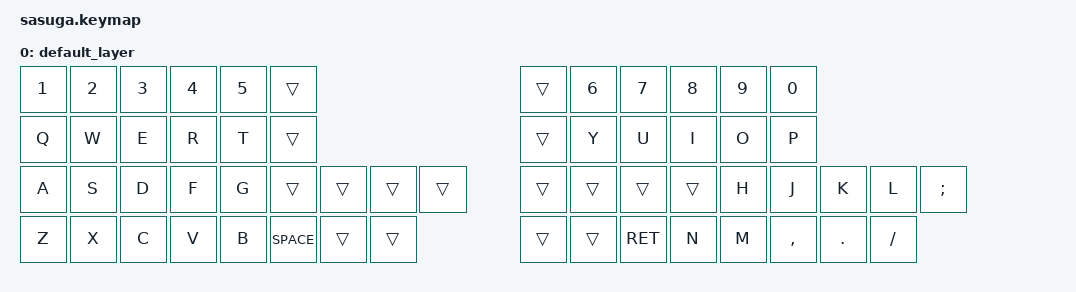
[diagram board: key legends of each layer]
#include <behaviors.dtsi>
#include <dt-bindings/zmk/keys.h>
#include <dt-bindings/zmk/bt.h>

/ {
        keymap {
                compatible = "zmk,keymap";

                default_layer {
// ---------------------------------------------------------------------------------
// |  1  |  2  |  3  |  4  |  5  |     |     |     |  6  |  7  |  8  |  9  |  0  |
// |  Q  |  W  |  E  |  R  |  T  |     |     |     |  Y  |  U  |  I  |  O  |  P  |
// |  A  |  S  |  D  |  F  |  G  |     |     |     |  H  |  J  |  K  |  L  |  ;  |
// |  Z  |  X  |  C  |  V  |  B  |     |     |     |  N  |  M  |  ,  |  .  |  /  |
// | CTRL | ALT | GUI | SPC | SPC | SPC |     | SPC | LOW |LARW |DARW |UARW | RARW |
                        bindings = <
   &kp N1    &kp N2    &kp N3    &kp N4     &kp N5  &trans                                     &trans  &kp N6  &kp N7  &kp N8   &kp N9   &kp N0
   &kp Q     &kp W     &kp E     &kp R      &kp T   &trans                                     &trans  &kp Y   &kp U   &kp I    &kp O    &kp P  
   &kp A     &kp S     &kp D     &kp F      &kp G   &trans  &trans  &trans  &trans             &trans  &trans  &trans  &trans   &kp H    &kp J      &kp K     &kp L     &kp SEMI
   &kp Z     &kp X     &kp C     &kp V      &kp B   &SPACE  &trans  &trans                     &trans  &trans  &RET    &kp N    &kp M    &kp COMMA  &kp DOT   &kp FSLH  
                        >;
                };
                
        };
};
